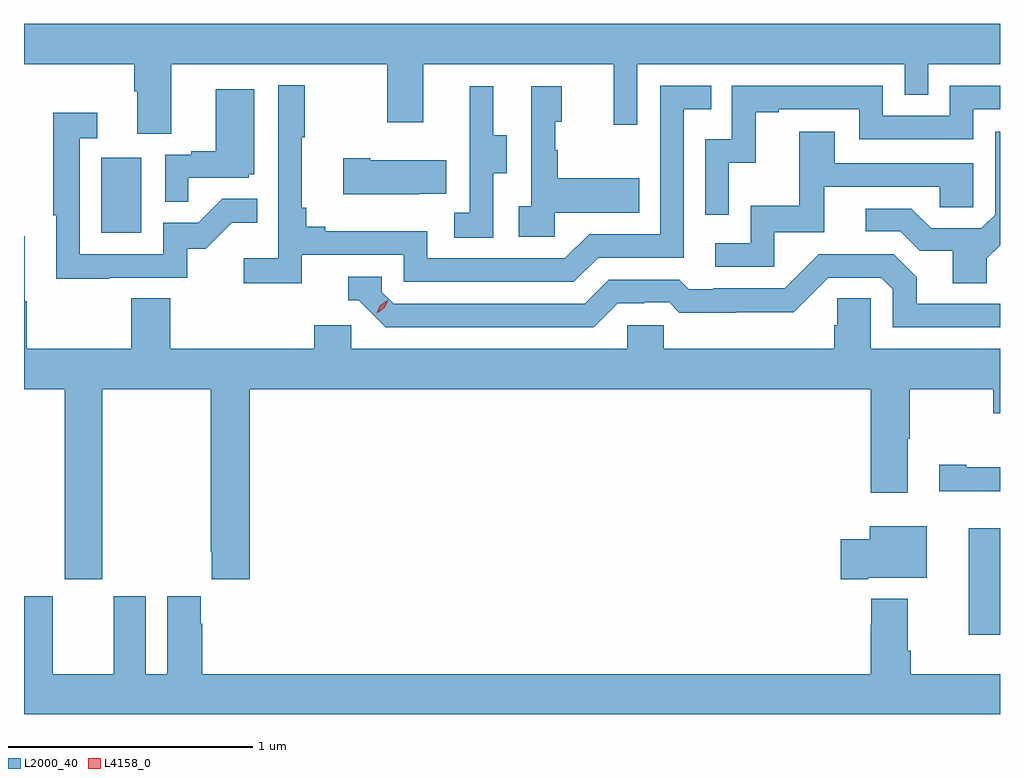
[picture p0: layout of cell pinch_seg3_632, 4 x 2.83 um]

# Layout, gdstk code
import gdstk
lib = gdstk.Library(unit=1e-6, precision=1e-09)
def R(c, l, rs):  # rectangles x0, y0, x1, y1
    for r in rs: c.add(gdstk.rectangle(r[:2], r[2:], *l))
def P(c, l, *ps):  # polygons
    for p in ps: c.add(gdstk.Polygon(p, *l))
L2000_40 = (2000, 40)
L4158_0 = (4158, 0)

pinch_seg3_632 = lib.new_cell('pinch_seg3_632')
R(pinch_seg3_632, L2000_40, [(1022.465,675.933,1022.593,676.369), (1018.91,677.58,1019.074,677.887)])
P(pinch_seg3_632, L2000_40, [(1019.197,678.272),(1020.082,678.272),(1020.082,678.033),(1020.229,678.033),(1020.229,678.272),(1021.01,678.272),(1021.01,678.024),(1021.107,678.024),(1021.107,678.272),(1022.202,678.272),(1022.202,678.145),(1022.298,678.145),(1022.298,678.272),(1022.593,678.272),(1022.593,678.436),(1018.593,678.436),(1018.593,678.272),(1019.045,678.272),(1019.045,678.16),(1019.057,678.16),(1019.057,677.986),(1019.197,677.986)],
  [(1019.732,677.49),(1020.15,677.49),(1020.15,677.379),(1020.847,677.379),(1020.946,677.478),(1021.296,677.478),(1021.296,678.087),(1021.409,678.087),(1021.409,678.183),(1021.2,678.183),(1021.2,677.574),(1020.909,677.574),(1020.81,677.475),(1020.246,677.475),(1020.246,677.587),(1019.827,677.587),(1019.827,677.606),(1019.75,677.606),(1019.75,677.683),(1019.731,677.683),(1019.731,677.971),(1019.743,677.971),(1019.743,678.184),(1019.634,678.184),(1019.634,677.476),(1019.493,677.476),(1019.493,677.374),(1019.732,677.374)],
  [(1021.482,677.867),(1021.592,677.867),(1021.592,678.075),(1021.687,678.075),(1021.687,678.087),(1022.016,678.087),(1022.016,677.964),(1022.484,677.964),(1022.484,678.087),(1022.593,678.087),(1022.593,678.183),(1022.388,678.183),(1022.388,678.06),(1022.112,678.06),(1022.112,678.183),(1021.494,678.183),(1021.494,677.964),(1021.386,677.964),(1021.386,677.655),(1021.482,677.655)],
  [(1020.516,677.824),(1020.571,677.824),(1020.571,677.979),(1020.517,677.979),(1020.517,678.181),(1020.419,678.181),(1020.419,677.967),(1020.42,677.967),(1020.42,677.663),(1020.357,677.663),(1020.357,677.56),(1020.516,677.56)],
  [(1020.768,677.663),(1021.115,677.663),(1021.115,677.803),(1020.781,677.803),(1020.781,677.918),(1020.771,677.918),(1020.771,678.036),(1020.796,678.036),(1020.796,678.181),(1020.672,678.181),(1020.672,677.69),(1020.621,677.69),(1020.621,677.565),(1020.768,677.565)],
  [(1019.267,677.805),(1019.514,677.805),(1019.514,677.82),(1019.536,677.82),(1019.536,678.169),(1019.378,678.169),(1019.378,677.914),(1019.279,677.914),(1019.279,677.901),(1019.172,677.901),(1019.172,677.707),(1019.267,677.707)],
  [(1018.943,677.397),(1019.262,677.397),(1019.262,677.514),(1019.338,677.514),(1019.445,677.621),(1019.549,677.621),(1019.549,677.72),(1019.405,677.72),(1019.307,677.622),(1019.163,677.622),(1019.163,677.493),(1018.821,677.493),(1018.821,677.967),(1018.894,677.967),(1018.894,678.073),(1018.713,678.073),(1018.713,677.653),(1018.725,677.653),(1018.725,677.392),(1018.943,677.392)],
  [(1022.539,677.476),(1022.593,677.53),(1022.593,677.995),(1022.574,677.995),(1022.574,677.655),(1022.517,677.598),(1022.311,677.598),(1022.23,677.679),(1022.043,677.679),(1022.043,677.586),(1022.184,677.586),(1022.264,677.506),(1022.399,677.506),(1022.399,677.374),(1022.539,677.374)],
  [(1021.668,677.583),(1021.873,677.583),(1021.873,677.769),(1022.347,677.769),(1022.347,677.685),(1022.484,677.685),(1022.484,677.865),(1021.915,677.865),(1021.915,677.995),(1021.771,677.995),(1021.771,677.692),(1021.572,677.692),(1021.572,677.538),(1021.425,677.538),(1021.425,677.442),(1021.668,677.442)],
  [(1020.215,677.741),(1020.323,677.741),(1020.323,677.878),(1020.013,677.878),(1020.013,677.886),(1019.901,677.886),(1019.901,677.738),(1020.215,677.738)],
  [(1018.914,676.94),(1019.359,676.94),(1019.359,676.273),(1019.363,676.273),(1019.363,676.161),(1019.519,676.161),(1019.519,676.94),(1022.063,676.94),(1022.063,676.515),(1022.215,676.515),(1022.215,676.736),(1022.223,676.736),(1022.223,676.94),(1022.566,676.94),(1022.566,676.841),(1022.593,676.841),(1022.593,677.104),(1022.064,677.104),(1022.064,677.312),(1021.927,677.312),(1021.927,677.202),(1021.913,677.202),(1021.913,677.104),(1021.215,677.104),(1021.215,677.202),(1021.065,677.202),(1021.065,677.104),(1019.934,677.104),(1019.934,677.202),(1019.783,677.202),(1019.783,677.104),(1019.192,677.104),(1019.192,677.312),(1019.032,677.312),(1019.032,677.104),(1018.605,677.104),(1018.605,677.3),(1018.597,677.3),(1018.597,677.566),(1018.593,677.566),(1018.593,676.94),(1018.759,676.94),(1018.759,676.161),(1018.914,676.161)],
  [(1021.027,677.292),(1021.134,677.292),(1021.134,677.295),(1021.237,677.295),(1021.279,677.253),(1021.512,677.253),(1021.512,677.255),(1021.748,677.255),(1021.89,677.397),(1022.106,677.397),(1022.154,677.349),(1022.154,677.193),(1022.593,677.193),(1022.593,677.289),(1022.251,677.289),(1022.251,677.399),(1022.157,677.493),(1021.851,677.493),(1021.71,677.352),(1021.417,677.352),(1021.417,677.349),(1021.318,677.349),(1021.279,677.388),(1020.99,677.388),(1020.891,677.289),(1020.108,677.289),(1020.06,677.337),(1020.06,677.4),(1019.921,677.4),(1019.921,677.304),(1019.964,677.304),(1020.075,677.193),(1020.928,677.193)],
  [(1022.593,676.62),(1022.455,676.62),(1022.455,676.63),(1022.343,676.63),(1022.343,676.52),(1022.593,676.52)],
  [(1022.053,676.166),(1022.293,676.166),(1022.293,676.378),(1022.06,676.378),(1022.06,676.324),(1021.941,676.324),(1021.941,676.161),(1022.053,676.161)],
  [(1022.593,675.772),(1022.228,675.772),(1022.228,675.868),(1022.215,675.868),(1022.215,676.081),(1022.066,676.081),(1022.066,675.974),(1022.063,675.974),(1022.063,675.772),(1019.324,675.772),(1019.324,675.977),(1019.317,675.977),(1019.317,676.09),(1019.18,676.09),(1019.18,675.772),(1019.092,675.772),(1019.092,676.09),(1018.961,676.09),(1018.961,675.772),(1018.711,675.772),(1018.711,676.09),(1018.593,676.09),(1018.593,675.608),(1022.593,675.608)])
P(pinch_seg3_632, L4158_0, [(1020.038,677.25),(1020.038,677.25),(1020.054,677.283),(1020.084,677.303),(1020.084,677.303),(1020.084,677.302),(1020.069,677.27),(1020.038,677.25)])

lib.write_gds('pinch_seg3_632.gds')
